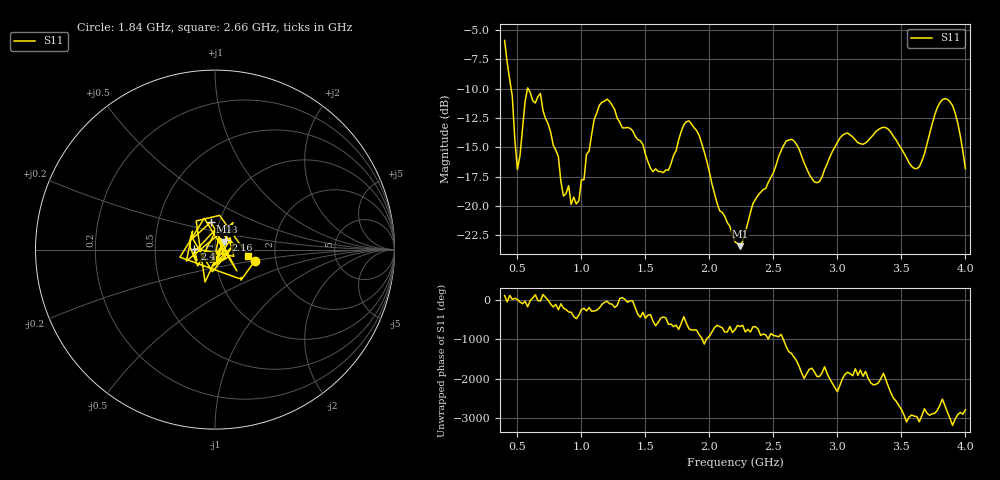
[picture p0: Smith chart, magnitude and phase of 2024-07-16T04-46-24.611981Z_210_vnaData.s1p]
!Created with skrf (http://scikit-rf.org).
# Hz S RI R 50.0
!freq ReS11 ImS11
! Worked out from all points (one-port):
!   181 points, 400 MHz to 4 GHz, reference 50 ohm
!   lowest |S11| = -23.4 dB at 2.24 GHz (marker M1), VSWR 1.14, Z = 55.2 + j4.87 ohm
!   |S11| at or under -10 dB: 450.8 MHz to 578.9 MHz (128.1 MHz wide, 24.9 % of centre); 583.4 MHz to end of sweep
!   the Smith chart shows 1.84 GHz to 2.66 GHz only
!   S11 on the Smith chart (normalised r, x): 1.84 GHz: 1.55, -0.21; 1.98 GHz: 0.91, +0.29; 2.16 GHz: 1.12, +0.12; 2.4 GHz: 0.79, +0.01; 2.66 GHz: 1.45, -0.11
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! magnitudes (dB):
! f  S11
! 400 MHz  -5.9
! 460 MHz  -10.6
! 500 MHz  -16.9
! 580 MHz  -9.9
! 680 MHz  -10.4
! 820 MHz  -15.8
! 860 MHz  -19.2
! 980 MHz  -19.5
! 1.14 GHz  -11.4
! 1.3 GHz  -12.9
! 1.56 GHz  -17.1
! 1.68 GHz  -17.0
! 1.76 GHz  -14.4
! 1.84 GHz  -12.7
! 1.98 GHz  -16.2
! 2.16 GHz  -21.7
! 2.2 GHz  -23.1
! 2.24 GHz  -23.4
! 2.4 GHz  -18.8
! 2.66 GHz  -14.4
! 2.84 GHz  -18.0
! 3.1 GHz  -13.9
! 3.38 GHz  -13.3
! 3.56 GHz  -16.3
! 3.64 GHz  -16.7
! 3.84 GHz  -10.8
! 3.92 GHz  -12.1
! 4 GHz  -16.8
